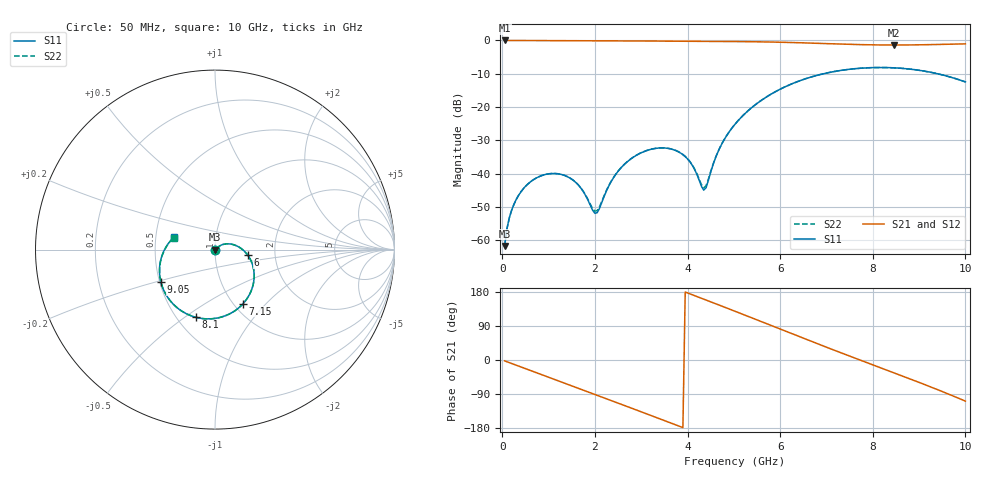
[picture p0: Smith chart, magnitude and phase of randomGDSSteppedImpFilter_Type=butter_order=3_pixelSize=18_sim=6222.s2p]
! freq	dB(S11)	phase(S11)	dB(S12)	phase(S12)
!  dB(S21)	phase(S21)	dB(S22)	phase(S22)
!S-par simulation data
#  GHz  S  DB  R 50
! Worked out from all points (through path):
!   200 points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, 50 MHz to 10 GHz, reference 50 ohm
!   highest |S21| = 0.00 dB at 50 MHz (marker M1); lowest = -1.4 dB at 8.45 GHz (marker M2)
!   group delay of S21, straight-line fit = 130 ps
!   lowest |S11| = -61.8 dB at 50 MHz (marker M3), VSWR 1.00, Z = 50 - j0.0801 ohm
!   |S11| at or under -10 dB: start of sweep to 6.939 GHz; 9.395 GHz to end of sweep
!   |S22| runs from -61.8 to -8.1 dB; largest |S21 - S12| = 0
!   S11 on the Smith chart (normalised r, x): 50 MHz: 1.00, -0.00; 6 GHz: 1.44, -0.09; 7.15 GHz: 1.10, -0.75; 8.1 GHz: 0.62, -0.55; 9.05 GHz: 0.51, -0.21; 10 GHz: 0.62, +0.09
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0.05  -61.80 -80.1  -0.00 -2.3  -0.00 -2.3  -61.83 -80.8
0.15  -53.43 -90.0  -0.01 -6.9  -0.01 -6.9  -53.42 -90.2
0.25  -49.29 -97.2  -0.02 -11.4  -0.02 -11.4  -49.29 -97.3
0.65  -42.06 -119.1  -0.03 -29.6  -0.03 -29.6  -42.07 -119.3
1.25  -40.20 -151.9  -0.06 -56.8  -0.06 -56.8  -40.19 -152.3
1.75  -45.46 168.6  -0.09 -79.5  -0.09 -79.5  -45.35 167.1
2.05  -51.76 76.7  -0.10 -93.2  -0.10 -93.2  -51.11 77.5
2.35  -42.44 5.7  -0.12 -106.9  -0.12 -106.9  -42.33 7.5
2.6  -37.75 -14.4  -0.14 -118.3  -0.14 -118.3  -37.71 -13.2
3.4  -32.32 -55.6  -0.19 -155.2  -0.19 -155.2  -32.30 -54.6
3.95  -34.91 -74.6  -0.23 179.3  -0.23 179.3  -34.86 -73.1
4.35  -44.99 -25.3  -0.26 160.6  -0.26 160.6  -44.31 -24.5
4.7  -32.21 40.0  -0.29 144.1  -0.29 144.1  -32.16 39.1
5.05  -24.77 31.4  -0.33 127.5  -0.33 127.5  -24.75 31.0
6  -14.66 -9.5  -0.53 81.7  -0.53 81.7  -14.65 -9.6
6.7  -10.86 -41.8  -0.81 48.0  -0.81 48.0  -10.86 -41.8
7.15  -9.39 -62.5  -1.02 26.6  -1.02 26.6  -9.39 -62.4
8.1  -8.14 -105.5  -1.34 -17.3  -1.34 -17.3  -8.14 -105.3
8.35  -8.17 -116.7  -1.37 -28.8  -1.37 -28.8  -8.17 -116.5
8.45  -8.23 -121.2  -1.37 -33.4  -1.37 -33.4  -8.23 -121.0
9.05  -9.08 -149.0  -1.30 -61.4  -1.30 -61.4  -9.07 -148.6
10  -12.47 162.8  -1.03 -108.5  -1.03 -108.5  -12.46 163.7
